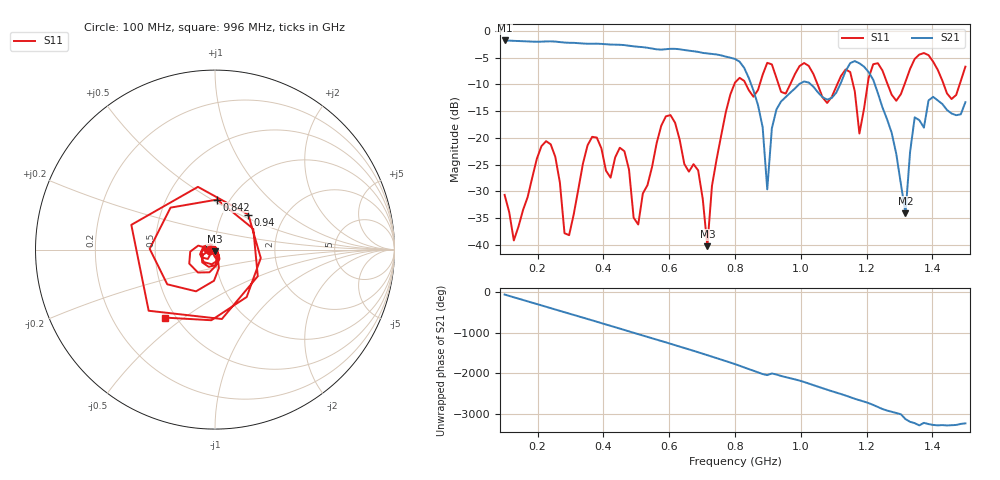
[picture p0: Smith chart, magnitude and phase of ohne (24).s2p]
! NanoVNA-App
! Date: 2025-09-25 14:20:59
! Start: 100MHz Stop: 1,5GHz Points: 101
! S-Parameter data: F S11 S21 S12 S22
# Hz S RI R 50
!  Frequency  S11_Real  S11_Imag  S21_Real  S21_Imag  S12_Real  S12_Imag  S22_Real  S22_Imag
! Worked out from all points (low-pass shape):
!   101 points, 100 MHz to 1.5 GHz, reference 50 ohm
!   highest |S21| = -1.79 dB at 100 MHz (marker M1); lowest = -34.1 dB at 1.318 GHz (marker M2)
!   |S21| within 3 dB of the highest: start of sweep to 770.6 MHz
!   lowest |S11| = -40.2 dB at 716 MHz (marker M3), VSWR 1.02, Z = 49.8 - j0.958 ohm
!   |S11| at or under -10 dB: start of sweep to 797.8 MHz; 833.2 MHz to 875.1 MHz (41.89 MHz wide, 4.9 % of centre); 1.051 GHz to 1.111 GHz (59.77 MHz wide, 5.53 % of centre) (the widest 3 of 7)
!   S12 and S22 are empty: the file has one direction only
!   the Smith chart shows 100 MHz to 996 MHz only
!   S11 on the Smith chart (normalised r, x): 100 MHz: 0.94, -0.01; 842 MHz: 0.88, +0.53; 940 MHz: 1.32, +0.56; 996 MHz: 0.44, -0.43
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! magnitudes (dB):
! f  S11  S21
! 100 MHz  -30.6  -1.8
! 128 MHz  -39.2  -1.9
! 226 MHz  -20.6  -2.0
! 296 MHz  -38.2  -2.2
! 338 MHz  -24.8  -2.4
! 464 MHz  -22.5  -2.7
! 506 MHz  -36.2  -3.0
! 576 MHz  -17.7  -3.5
! 688 MHz  -26.0  -3.9
! 716 MHz  -40.2  -4.2
! 800 MHz  -9.7  -5.3
! 842 MHz  -11.1  -8.8
! 898 MHz  -6.0  -29.6
! 940 MHz  -11.4  -13.2
! 996 MHz  -6.6  -9.9
! 1.038 GHz  -8.0  -10.4
! 1.178 GHz  -19.2  -6.1
! 1.22 GHz  -6.2  -9.1
! 1.276 GHz  -11.9  -19.0
! 1.318 GHz  -9.5  -34.1
! 1.346 GHz  -5.2  -16.2
! 1.5 GHz  -6.7  -13.3
